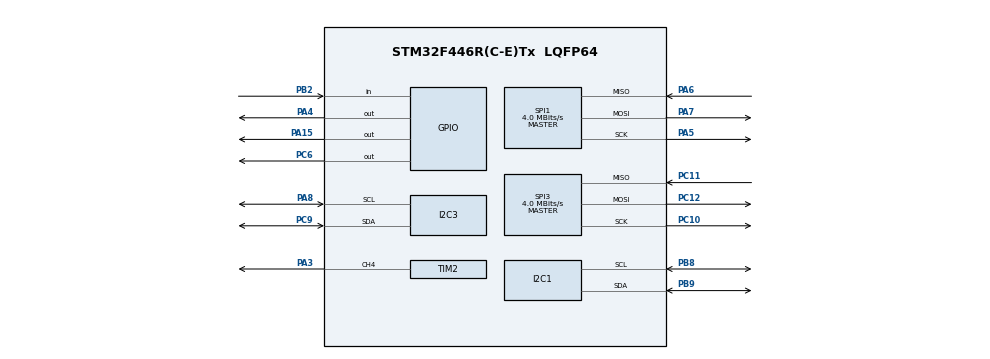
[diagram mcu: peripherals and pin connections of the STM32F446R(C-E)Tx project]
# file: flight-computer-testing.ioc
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Mcu.Family=STM32F4
Mcu.Name=STM32F446R(C-E)Tx
Mcu.Package=LQFP64
NVIC.PriorityGroup=NVIC_PRIORITYGROUP_4
PA13.Mode=Trace_Asynchronous_SW
PA13.Signal=SYS_JTMS-SWDIO
PA14.Mode=Trace_Asynchronous_SW
PA14.Signal=SYS_JTCK-SWCLK
PA15.PinState=GPIO_PIN_SET
PA15.Signal=GPIO_Output
PA3.Signal=S_TIM2_CH4
PA4.PinState=GPIO_PIN_SET
PA4.Signal=GPIO_Output
PA5.Mode=Full_Duplex_Master
PA5.Signal=SPI1_SCK
PA6.Mode=Full_Duplex_Master
PA6.Signal=SPI1_MISO
PA7.Mode=Full_Duplex_Master
PA7.Signal=SPI1_MOSI
PA8.GPIO_Pu=GPIO_NOPULL
PA8.Mode=I2C
PA8.Signal=I2C3_SCL
PB2.Signal=GPIO_Input
PB3.Mode=Trace_Asynchronous_SW
PB3.Signal=SYS_JTDO-SWO
PB8.Mode=I2C
PB8.Signal=I2C1_SCL
PB9.Mode=I2C
PB9.Signal=I2C1_SDA
PC10.Mode=Full_Duplex_Master
PC10.Signal=SPI3_SCK
PC11.Mode=Full_Duplex_Master
PC11.Signal=SPI3_MISO
PC12.Mode=Full_Duplex_Master
PC12.Signal=SPI3_MOSI
PC6.Signal=GPIO_Output
PC9.GPIO_Pu=GPIO_NOPULL
PC9.Mode=I2C
PC9.Signal=I2C3_SDA
PH0-OSC_IN.Mode=HSE-External-Oscillator
PH0-OSC_IN.Signal=RCC_OSC_IN
PH1-OSC_OUT.Mode=HSE-External-Oscillator
PH1-OSC_OUT.Signal=RCC_OSC_OUT
ProjectManager.HeapSize=0x200
ProjectManager.StackSize=0x400
ProjectManager.TargetToolchain=STM32CubeIDE
RCC.APB1CLKDivider=RCC_HCLK_DIV2
RCC.APB1Freq_Value=8000000
RCC.APB1TimFreq_Value=16000000
RCC.APB2CLKDivider=RCC_HCLK_DIV2
RCC.APB2Freq_Value=8000000
RCC.APB2TimFreq_Value=16000000
RCC.CortexFreq_Value=16000000
RCC.PLLSourceVirtual=RCC_PLLSOURCE_HSE
RCC.USBFreq_Value=150000000
RCC.VCOOutputFreq_Value=300000000
SH.S_TIM2_CH4.0=TIM2_CH4,PWM Generation4 CH4
SPI1.CalculateBaudRate=4.0 MBits/s
SPI1.Direction=SPI_DIRECTION_2LINES
SPI1.Mode=SPI_MODE_MASTER
SPI1.VirtualType=VM_MASTER
SPI3.CLKPhase=SPI_PHASE_2EDGE
SPI3.CLKPolarity=SPI_POLARITY_HIGH
SPI3.CalculateBaudRate=4.0 MBits/s
SPI3.Direction=SPI_DIRECTION_2LINES
SPI3.Mode=SPI_MODE_MASTER
SPI3.VirtualType=VM_MASTER
TIM2.Channel-PWM\ Generation4\ CH4=TIM_CHANNEL_4
TIM2.Period=2928
TIM2.Pulse-PWM\ Generation4\ CH4=1465
board=custom

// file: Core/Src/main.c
/* USER CODE BEGIN Header */
/**
  ******************************************************************************
  * @file           : main.c
  * @brief          : Main program body
  ******************************************************************************
  * @attention
  *
  * Copyright (c) 2026 STMicroelectronics.
  * All rights reserved.
  *
  * This software is licensed under terms that can be found in the LICENSE file
  * in the root directory of this software component.
  * If no LICENSE file comes with this software, it is provided AS-IS.
  *
  ******************************************************************************
  */
/* USER CODE END Header */
#include "main.h"

/* USER CODE BEGIN Includes */
#include <stdio.h>
#include "h3lis.h"
#define H3LIS_ADDR_LOW   (0x18 << 1)
#define H3LIS_ADDR_HIGH  (0x19 << 1)

#include "dps368.h"

#include "IMU.h"

#include "w25n.h"

#include "fsm.h"
/* USER CODE END Includes */

/* USER CODE BEGIN PTD */
typedef struct {
    uint32_t timestamp_ms;
    int8_t   h3lis_accel[3];
    float    imu_accel[3];
    float    imu_gyro[3];
    float    temperature_C;
    float    pressure_hPa;
    float    altitude_m;
    uint8_t  fsm_state;
} TelemetryRecord_t;

/* USER CODE END PTD */

I2C_HandleTypeDef hi2c1;
I2C_HandleTypeDef hi2c3;

SPI_HandleTypeDef hspi1;
SPI_HandleTypeDef hspi3;

TIM_HandleTypeDef htim2;

/* USER CODE BEGIN PV */
Accel_t accel;
uint8_t accelResult; // expected 0x32
AccelData_t accelData;

Baro_t baro;
int32_t tmp_raw, prs_raw;
float temperature_C, pressure_hPa, altitude_m;
uint8_t baroResult; // expected 0x10

IMU imu;
uint8_t IMUResult; // expected 0x6C

W25N_Handle_t nand;
W25N_Status_t nandStatus; // expected W25N_OK after Verify_ID
TelemetryRecord_t telemetry;

/* USER CODE END PV */

void SystemClock_Config(void);
static void MX_GPIO_Init(void);
static void MX_I2C1_Init(void);
static void MX_I2C3_Init(void);
static void MX_SPI3_Init(void);
static void MX_SPI1_Init(void);
static void MX_TIM2_Init(void);

/* USER CODE BEGIN 0 */
static void PrintTelemetryRecord(uint32_t page_addr, const uint8_t *data, uint32_t length)
{
    (void)length;
    const TelemetryRecord_t *rec = (const TelemetryRecord_t *)data;

    printf("page %lu | t=%lums | h3lis(%d,%d,%d) | imu_a(%.2f,%.2f,%.2f) mg | imu_g(%.2f,%.2f,%.2f) mdps | %.2fC %.2fhPa %.2fm\r\n",
           (unsigned long)page_addr, (unsigned long)rec->timestamp_ms,
           rec->h3lis_accel[0], rec->h3lis_accel[1], rec->h3lis_accel[2],
           rec->imu_accel[0], rec->imu_accel[1], rec->imu_accel[2],
           rec->imu_gyro[0], rec->imu_gyro[1], rec->imu_gyro[2],
           rec->temperature_C, rec->pressure_hPa, rec->altitude_m);
    printf("  state: %s\r\n", FSM_StateName((FSM_State_t)rec->fsm_state));
}

/* USER CODE END 0 */

int main(void)
{

  /* MCU Configuration--------------------------------------------------------*/

  /* Reset of all peripherals, Initializes the Flash interface and the Systick. */
  HAL_Init();

  /* Configure the system clock */
  SystemClock_Config();

  /* Initialize all configured peripherals */
  MX_GPIO_Init();
  MX_I2C1_Init();
  MX_I2C3_Init();
  MX_SPI3_Init();
  MX_SPI1_Init();
  MX_TIM2_Init();
  /* USER CODE BEGIN 2 */
  for (int i = 0; i < 3; i++) {
  		  HAL_TIM_PWM_Start(&htim2, TIM_CHANNEL_4);
  		  HAL_Delay(500);
  		  HAL_TIM_PWM_Stop(&htim2, TIM_CHANNEL_4);
  		  HAL_Delay(500);
  	}

  accel.i2c_handle = &hi2c1;
  accel.device_addr = H3LIS_ADDR_HIGH;
  accelResult = h3lis_init(&accel);

  baro.i2c_handle = &hi2c3;
  baro.device_addr = DPS368_I2C_ADDR;
  baroResult = dps368_init(&baro);
  if (baroResult != DPS368_WHOAMI_VAL) {
	  // nothing
  }
  dps368_config_tmp(&baro, DPS368_MEAS_RATE_1, DPS368_SAMP_RATE_8);
  dps368_config_prs(&baro, DPS368_MEAS_RATE_1, DPS368_SAMP_RATE_8);
  dps368_set_opmode(&baro, DPS368_OPMODE_BACKGROUND_PRS_TMP);

  IMUResult = IMU_Initialise(&imu, &hspi3, GPIOA, GPIO_PIN_15);

  // whoami seems to fail, but the values are read normally??? or atleast print normally
//    if (IMUResult != IMU_WHOAMI_VAL) {
//        while (1) {
//            HAL_Delay(100); /* trap here so a wiring/SPI-mode fault is obvious on a debugger */
//        }
//    }

  nand.hspi = &hspi1;
  nand.cs_port = GPIOA;
  nand.cs_pin = GPIO_PIN_4;
  nand.timeout = 100;

  W25N_Reset(&nand);
  nandStatus = W25N_Verify_ID(&nand);
  if (nandStatus != W25N_OK) {
	  printf("NAND: JEDEC ID mismatch - check wiring/CS\r\n");
  }

  nandStatus = W25N_Unlock_All_Blocks(&nand);
  if (nandStatus != W25N_OK) {
	printf("NAND: failed to clear block protection\r\n");
  }

  FSM_t fsm;
  FSM_Init(&fsm);

  if (FSM_GetState(&fsm) == FSM_STATE_READY) {
	  HAL_TIM_PWM_Start(&htim2, TIM_CHANNEL_4);
	  HAL_Delay(500);
	  HAL_TIM_PWM_Stop(&htim2, TIM_CHANNEL_4);
  }

  uint32_t prevTick = HAL_GetTick();

  // reading all the data
//  W25N_Log_Dump(&nand, 100000, &telemetry, sizeof(telemetry), PrintTelemetryRecord);

  /* USER CODE END 2 */

  /* Infinite loop */
  while (1)
  {

    /* USER CODE BEGIN 3 */

	  uint32_t timeTick = HAL_GetTick();

	  if (timeTick - prevTick > 20) {
		  prevTick = timeTick;

		  h3lis_read(&accel, &accelData);

		  ReadAcceleration(&imu, accelXRegHi, accelXRegLow, 0);
		  ReadAcceleration(&imu, accelYRegHi, accelYRegLow, 1);
		  ReadAcceleration(&imu, accelZRegHi, accelZRegLow, 2);

		  dps368_get_result(&baro, &tmp_raw, &prs_raw);
		  temperature_C = tmp_raw / 100.0f;      /* tmp_raw is °C x100 */
		  pressure_hPa  = prs_raw / 100.0f;      /* prs_raw is Pa, /100 -> hPa */
		  altitude_m = dps368_get_altitude(prs_raw);

		  ReadAllIMU(&imu);

		  bool changed = FSM_NewReading(
			  &fsm, 0, 0, 0, /* h3lis int8 accel: unused by fsm.c's logic */
			  // this is INTENTIONALLY in the order [1] [0] [2]
			  // the [0] is the one which reads 1000 mg when the rocket is upright
			  imu.acceleration[1], imu.acceleration[0], imu.acceleration[2],
			  imu.gyro[0], imu.gyro[1], imu.gyro[2], altitude_m, timeTick);

//		  printf("imu accel (mg): %.2f %.2f %.2f\r\n", imu.acceleration[0], imu.acceleration[1], imu.acceleration[2]);
//		  printf("imu gyro (mdps): %.2f %.2f %.2f\r\n", imu.gyro[0], imu.gyro[1], imu.gyro[2]);
//
//		  printf("temp: %.2f C\r\n", temperature_C);
//		  printf("pressure: %.2f hPa\r\n", pressure_hPa);
//		  printf("altitude: %.2f m\r\n", altitude_m);
//
//		  printf("state: %s\r\n", FSM_StateName(FSM_GetState(&fsm)));

		  telemetry.timestamp_ms = timeTick;
		  telemetry.h3lis_accel[0] = accelData.accel_x;
		  telemetry.h3lis_accel[1] = accelData.accel_y;
		  telemetry.h3lis_accel[2] = accelData.accel_z;
		  telemetry.imu_accel[0] = imu.acceleration[0];
		  telemetry.imu_accel[1] = imu.acceleration[1];
		  telemetry.imu_accel[2] = imu.acceleration[2];
		  telemetry.imu_gyro[0] = imu.gyro[0];
		  telemetry.imu_gyro[1] = imu.gyro[1];
		  telemetry.imu_gyro[2] = imu.gyro[2];
		  telemetry.temperature_C = temperature_C;
		  telemetry.pressure_hPa = pressure_hPa;
		  telemetry.altitude_m = altitude_m;
		  telemetry.fsm_state = (uint8_t)FSM_GetState(&fsm);

		  if (FSM_GetState(&fsm) != FSM_STATE_LANDED) {
			  HAL_GPIO_TogglePin(GPIOC, GPIO_PIN_6);
			  nandStatus = W25N_Log_Write(&nand, &telemetry, sizeof(telemetry));
		  }

		  if (nandStatus != W25N_OK) {
			  printf("NAND write failed at page %lu, status %d\r\n", (unsigned long)nand.log_next_page, nandStatus);
		  }
	  }

//	  HAL_Delay(500);
  }
  /* USER CODE END 3 */
}

void SystemClock_Config(void)
{
  RCC_OscInitTypeDef RCC_OscInitStruct = {0};
  RCC_ClkInitTypeDef RCC_ClkInitStruct = {0};

  /** Configure the main internal regulator output voltage
  */
  __HAL_RCC_PWR_CLK_ENABLE();
  __HAL_PWR_VOLTAGESCALING_CONFIG(PWR_REGULATOR_VOLTAGE_SCALE3);

  /** Initializes the RCC Oscillators according to the specified parameters
  * in the RCC_OscInitTypeDef structure.
  */
  RCC_OscInitStruct.OscillatorType = RCC_OSCILLATORTYPE_HSI;
  RCC_OscInitStruct.HSIState = RCC_HSI_ON;
  RCC_OscInitStruct.HSICalibrationValue = RCC_HSICALIBRATION_DEFAULT;
  RCC_OscInitStruct.PLL.PLLState = RCC_PLL_NONE;
  if (HAL_RCC_OscConfig(&RCC_OscInitStruct) != HAL_OK)
  {
    Error_Handler();
  }

  /** Initializes the CPU, AHB and APB buses clocks
  */
  RCC_ClkInitStruct.ClockType = RCC_CLOCKTYPE_HCLK|RCC_CLOCKTYPE_SYSCLK
                              |RCC_CLOCKTYPE_PCLK1|RCC_CLOCKTYPE_PCLK2;
  RCC_ClkInitStruct.SYSCLKSource = RCC_SYSCLKSOURCE_HSI;
  RCC_ClkInitStruct.AHBCLKDivider = RCC_SYSCLK_DIV1;
  RCC_ClkInitStruct.APB1CLKDivider = RCC_HCLK_DIV2;
  RCC_ClkInitStruct.APB2CLKDivider = RCC_HCLK_DIV2;

  if (HAL_RCC_ClockConfig(&RCC_ClkInitStruct, FLASH_LATENCY_0) != HAL_OK)
  {
    Error_Handler();
  }
}

static void MX_I2C1_Init(void)
{

  hi2c1.Instance = I2C1;
  hi2c1.Init.ClockSpeed = 100000;
  hi2c1.Init.DutyCycle = I2C_DUTYCYCLE_2;
  hi2c1.Init.OwnAddress1 = 0;
  hi2c1.Init.AddressingMode = I2C_ADDRESSINGMODE_7BIT;
  hi2c1.Init.DualAddressMode = I2C_DUALADDRESS_DISABLE;
  hi2c1.Init.OwnAddress2 = 0;
  hi2c1.Init.GeneralCallMode = I2C_GENERALCALL_DISABLE;
  hi2c1.Init.NoStretchMode = I2C_NOSTRETCH_DISABLE;
  if (HAL_I2C_Init(&hi2c1) != HAL_OK)
  {
    Error_Handler();
  }

}

static void MX_I2C3_Init(void)
{

  hi2c3.Instance = I2C3;
  hi2c3.Init.ClockSpeed = 100000;
  hi2c3.Init.DutyCycle = I2C_DUTYCYCLE_2;
  hi2c3.Init.OwnAddress1 = 0;
  hi2c3.Init.AddressingMode = I2C_ADDRESSINGMODE_7BIT;
  hi2c3.Init.DualAddressMode = I2C_DUALADDRESS_DISABLE;
  hi2c3.Init.OwnAddress2 = 0;
  hi2c3.Init.GeneralCallMode = I2C_GENERALCALL_DISABLE;
  hi2c3.Init.NoStretchMode = I2C_NOSTRETCH_DISABLE;
  if (HAL_I2C_Init(&hi2c3) != HAL_OK)
  {
    Error_Handler();
  }

}

static void MX_SPI1_Init(void)
{

  /* SPI1 parameter configuration*/
  hspi1.Instance = SPI1;
  hspi1.Init.Mode = SPI_MODE_MASTER;
  hspi1.Init.Direction = SPI_DIRECTION_2LINES;
  hspi1.Init.DataSize = SPI_DATASIZE_8BIT;
  hspi1.Init.CLKPolarity = SPI_POLARITY_LOW;
  hspi1.Init.CLKPhase = SPI_PHASE_1EDGE;
  hspi1.Init.NSS = SPI_NSS_SOFT;
  hspi1.Init.BaudRatePrescaler = SPI_BAUDRATEPRESCALER_2;
  hspi1.Init.FirstBit = SPI_FIRSTBIT_MSB;
  hspi1.Init.TIMode = SPI_TIMODE_DISABLE;
  hspi1.Init.CRCCalculation = SPI_CRCCALCULATION_DISABLE;
  hspi1.Init.CRCPolynomial = 10;
  if (HAL_SPI_Init(&hspi1) != HAL_OK)
  {
    Error_Handler();
  }

}

static void MX_SPI3_Init(void)
{

  /* SPI3 parameter configuration*/
  hspi3.Instance = SPI3;
  hspi3.Init.Mode = SPI_MODE_MASTER;
  hspi3.Init.Direction = SPI_DIRECTION_2LINES;
  hspi3.Init.DataSize = SPI_DATASIZE_8BIT;
  hspi3.Init.CLKPolarity = SPI_POLARITY_HIGH;
  hspi3.Init.CLKPhase = SPI_PHASE_2EDGE;
  hspi3.Init.NSS = SPI_NSS_SOFT;
  hspi3.Init.BaudRatePrescaler = SPI_BAUDRATEPRESCALER_2;
  hspi3.Init.FirstBit = SPI_FIRSTBIT_MSB;
  hspi3.Init.TIMode = SPI_TIMODE_DISABLE;
  hspi3.Init.CRCCalculation = SPI_CRCCALCULATION_DISABLE;
  hspi3.Init.CRCPolynomial = 10;
  if (HAL_SPI_Init(&hspi3) != HAL_OK)
  {
    Error_Handler();
  }

}

static void MX_TIM2_Init(void)
{

  TIM_MasterConfigTypeDef sMasterConfig = {0};
  TIM_OC_InitTypeDef sConfigOC = {0};

  htim2.Instance = TIM2;
  htim2.Init.Prescaler = 0;
  htim2.Init.CounterMode = TIM_COUNTERMODE_UP;
  htim2.Init.Period = 2928;
  htim2.Init.ClockDivision = TIM_CLOCKDIVISION_DIV1;
  htim2.Init.AutoReloadPreload = TIM_AUTORELOAD_PRELOAD_DISABLE;
  if (HAL_TIM_PWM_Init(&htim2) != HAL_OK)
  {
    Error_Handler();
  }
  sMasterConfig.MasterOutputTrigger = TIM_TRGO_RESET;
  sMasterConfig.MasterSlaveMode = TIM_MASTERSLAVEMODE_DISABLE;
  if (HAL_TIMEx_MasterConfigSynchronization(&htim2, &sMasterConfig) != HAL_OK)
  {
    Error_Handler();
  }
  sConfigOC.OCMode = TIM_OCMODE_PWM1;
  sConfigOC.Pulse = 1465;
  sConfigOC.OCPolarity = TIM_OCPOLARITY_HIGH;
  sConfigOC.OCFastMode = TIM_OCFAST_DISABLE;
  if (HAL_TIM_PWM_ConfigChannel(&htim2, &sConfigOC, TIM_CHANNEL_4) != HAL_OK)
  {
    Error_Handler();
  }
  HAL_TIM_MspPostInit(&htim2);

}

static void MX_GPIO_Init(void)
{
  GPIO_InitTypeDef GPIO_InitStruct = {0};

  /* GPIO Ports Clock Enable */
  __HAL_RCC_GPIOH_CLK_ENABLE();
  __HAL_RCC_GPIOA_CLK_ENABLE();
  __HAL_RCC_GPIOB_CLK_ENABLE();
  __HAL_RCC_GPIOC_CLK_ENABLE();

  /*Configure GPIO pin Output Level */
  HAL_GPIO_WritePin(GPIOA, GPIO_PIN_4|GPIO_PIN_15, GPIO_PIN_SET);

  /*Configure GPIO pin Output Level */
  HAL_GPIO_WritePin(GPIOC, GPIO_PIN_6, GPIO_PIN_RESET);

  /*Configure GPIO pins : PA4 PA15 */
  GPIO_InitStruct.Pin = GPIO_PIN_4|GPIO_PIN_15;
  GPIO_InitStruct.Mode = GPIO_MODE_OUTPUT_PP;
  GPIO_InitStruct.Pull = GPIO_NOPULL;
  GPIO_InitStruct.Speed = GPIO_SPEED_FREQ_LOW;
  HAL_GPIO_Init(GPIOA, &GPIO_InitStruct);

  /*Configure GPIO pin : PB2 */
  GPIO_InitStruct.Pin = GPIO_PIN_2;
  GPIO_InitStruct.Mode = GPIO_MODE_INPUT;
  GPIO_InitStruct.Pull = GPIO_NOPULL;
  HAL_GPIO_Init(GPIOB, &GPIO_InitStruct);

  /*Configure GPIO pin : PC6 */
  GPIO_InitStruct.Pin = GPIO_PIN_6;
  GPIO_InitStruct.Mode = GPIO_MODE_OUTPUT_PP;
  GPIO_InitStruct.Pull = GPIO_NOPULL;
  GPIO_InitStruct.Speed = GPIO_SPEED_FREQ_LOW;
  HAL_GPIO_Init(GPIOC, &GPIO_InitStruct);

}

/* USER CODE BEGIN 4 */

#ifdef __GNUC__
int __io_putchar(int ch)
#else
int fputc(int ch, FILE *f)
#endif
{
    ITM_SendChar(ch);
    return ch;
}
/* USER CODE END 4 */

void Error_Handler(void)
{
  __disable_irq();
  while (1)
  {
  }
}
